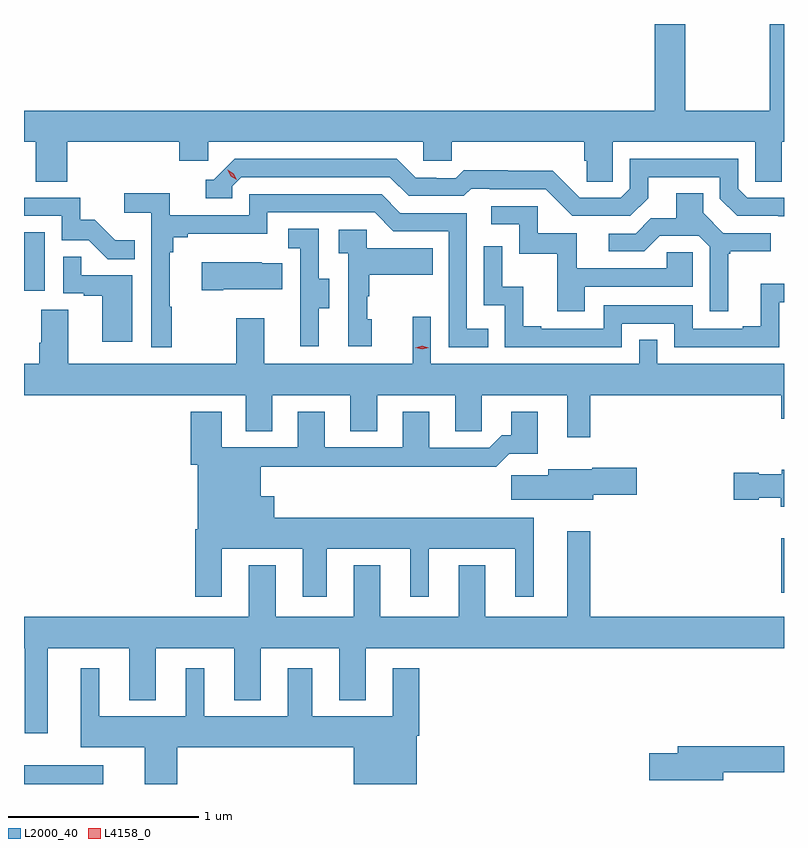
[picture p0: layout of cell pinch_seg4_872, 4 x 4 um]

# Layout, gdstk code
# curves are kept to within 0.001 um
import gdstk
lib = gdstk.Library(unit=1e-6, precision=1e-09)
def R(c, l, rs):  # rectangles x0, y0, x1, y1
    for r in rs: c.add(gdstk.rectangle(r[:2], r[2:], *l))
def P(c, l, *ps):  # polygons
    for p in ps: c.add(gdstk.Polygon(p, *l))
L2000_40 = (2000, 40)
L4158_0 = (4158, 0)

pinch_seg4_872 = lib.new_cell('pinch_seg4_872')
R(pinch_seg4_872, L2000_40, [(840.699,798.769,841.117,798.868), (844.685,799.776,844.699,800.062), (840.699,801.366,840.808,801.673)])
P(pinch_seg4_872, L2000_40, [(840.926,802.148),(841.517,802.148),(841.517,802.05),(841.668,802.05),(841.668,802.148),(842.799,802.148),(842.799,802.05),(842.949,802.05),(842.949,802.148),(843.647,802.148),(843.647,802.05),(843.661,802.05),(843.661,801.94),(843.798,801.94),(843.798,802.148),(844.548,802.148),(844.548,801.94),(844.687,801.94),(844.687,802.148),(844.699,802.148),(844.699,802.769),(844.624,802.769),(844.624,802.312),(844.179,802.312),(844.179,802.769),(844.019,802.769),(844.019,802.312),(840.699,802.312),(840.699,802.148),(840.761,802.148),(840.761,801.94),(840.926,801.94)],
  [(844.699,801.855),(844.506,801.855),(844.458,801.903),(844.458,802.059),(843.888,802.059),(843.888,801.903),(843.84,801.855),(843.624,801.855),(843.482,801.997),(843.246,801.997),(843.246,802),(843.013,802),(842.971,801.957),(842.868,801.957),(842.868,801.96),(842.761,801.96),(842.662,802.059),(841.809,802.059),(841.698,801.948),(841.655,801.948),(841.655,801.852),(841.794,801.852),(841.794,801.915),(841.842,801.963),(842.625,801.963),(842.724,801.864),(843.013,801.864),(843.052,801.903),(843.151,801.903),(843.151,801.9),(843.444,801.9),(843.585,801.759),(843.891,801.759),(843.985,801.853),(843.985,801.963),(844.362,801.963),(844.362,801.849),(844.452,801.759),(844.699,801.758)],
  [(844.405,801.561),(844.417,801.561),(844.417,801.572),(844.63,801.572),(844.63,801.669),(844.38,801.669),(844.273,801.776),(844.273,801.878),(844.133,801.878),(844.133,801.746),(843.998,801.746),(843.918,801.666),(843.777,801.666),(843.777,801.573),(843.964,801.573),(844.045,801.654),(844.251,801.654),(844.308,801.597),(844.308,801.258),(844.405,801.258)],
  [(841.477,801.281),(841.465,801.281),(841.465,801.569),(841.484,801.569),(841.484,801.646),(841.561,801.646),(841.561,801.665),(841.98,801.665),(841.98,801.777),(842.544,801.777),(842.643,801.678),(842.934,801.678),(842.934,801.069),(843.143,801.069),(843.143,801.165),(843.03,801.165),(843.03,801.774),(842.68,801.774),(842.581,801.873),(841.884,801.873),(841.884,801.762),(841.466,801.762),(841.466,801.878),(841.227,801.878),(841.227,801.776),(841.368,801.776),(841.368,801.069),(841.477,801.069)],
  [(841.283,801.631),(841.179,801.631),(841.072,801.738),(840.996,801.738),(840.996,801.855),(840.699,801.855),(840.699,801.759),(840.897,801.759),(840.897,801.63),(841.041,801.63),(841.139,801.532),(841.283,801.532)],
  [(843.649,801.387),(844.218,801.387),(844.218,801.567),(844.081,801.567),(844.081,801.483),(843.607,801.483),(843.607,801.669),(843.402,801.669),(843.402,801.81),(843.159,801.81),(843.159,801.714),(843.306,801.714),(843.306,801.561),(843.505,801.561),(843.505,801.258),(843.649,801.258)],
  [(842.251,801.274),(842.305,801.274),(842.305,801.429),(842.25,801.429),(842.25,801.692),(842.091,801.692),(842.091,801.589),(842.154,801.589),(842.154,801.285),(842.153,801.285),(842.153,801.072),(842.251,801.072)],
  [(842.53,801.216),(842.505,801.216),(842.505,801.335),(842.515,801.335),(842.515,801.449),(842.849,801.449),(842.849,801.589),(842.502,801.589),(842.502,801.687),(842.355,801.687),(842.355,801.563),(842.406,801.563),(842.406,801.072),(842.53,801.072)],
  [(843.846,801.192),(844.122,801.192),(844.122,801.069),(844.674,801.069),(844.674,801.305),(844.699,801.305),(844.699,801.403),(844.577,801.403),(844.577,801.178),(844.481,801.178),(844.481,801.165),(844.218,801.165),(844.218,801.288),(843.75,801.288),(843.75,801.165),(843.421,801.165),(843.421,801.178),(843.326,801.178),(843.326,801.386),(843.216,801.386),(843.216,801.598),(843.12,801.598),(843.12,801.288),(843.228,801.288),(843.228,801.069),(843.846,801.069)],
  [(841.27,801.447),(841.001,801.447),(841.001,801.545),(840.906,801.545),(840.906,801.351),(841.013,801.351),(841.013,801.339),(841.112,801.339),(841.112,801.096),(841.27,801.096)],
  [(841.747,801.374),(842.057,801.374),(842.057,801.511),(841.949,801.511),(841.949,801.514),(841.635,801.514),(841.635,801.367),(841.747,801.367)],
  [(843.679,800.816),(844.685,800.816),(844.685,800.692),(844.699,800.692),(844.699,800.98),(844.032,800.98),(844.032,801.107),(843.936,801.107),(843.936,800.98),(842.841,800.98),(842.841,801.229),(842.744,801.229),(842.744,800.98),(841.963,800.98),(841.963,801.22),(841.816,801.22),(841.816,800.98),(840.931,800.98),(840.931,801.266),(840.791,801.266),(840.791,801.092),(840.779,801.092),(840.779,800.98),(840.699,800.98),(840.699,800.816),(841.865,800.816),(841.865,800.626),(842.005,800.626),(842.005,800.816),(842.417,800.816),(842.417,800.626),(842.557,800.626),(842.557,800.816),(842.969,800.816),(842.969,800.626),(843.108,800.626),(843.108,800.816),(843.557,800.816),(843.557,800.595),(843.679,800.595)],
  [(841.741,800.006),(842.165,800.006),(842.165,799.755),(842.293,799.755),(842.293,800.006),(842.732,800.006),(842.732,799.755),(842.83,799.755),(842.83,800.006),(843.284,800.006),(843.284,799.755),(843.382,799.755),(843.382,800.17),(842.017,800.17),(842.017,800.284),(841.945,800.284),(841.945,800.44),(842.929,800.44),(842.929,800.438),(843.185,800.438),(843.254,800.507),(843.403,800.507),(843.403,800.728),(843.263,800.728),(843.263,800.605),(843.214,800.605),(843.147,800.538),(842.833,800.538),(842.833,800.728),(842.693,800.728),(842.693,800.541),(842.281,800.541),(842.281,800.728),(842.141,800.728),(842.141,800.541),(841.741,800.541),(841.741,800.728),(841.577,800.728),(841.577,800.448),(841.613,800.448),(841.613,800.11),(841.601,800.11),(841.601,799.755),(841.741,799.755)],
  [(843.694,800.291),(843.925,800.291),(843.925,800.433),(843.69,800.433),(843.69,800.425),(843.458,800.425),(843.458,800.393),(843.264,800.393),(843.264,800.264),(843.694,800.264)],
  [(844.699,800.422),(844.686,800.422),(844.686,800.398),(844.566,800.398),(844.566,800.406),(844.434,800.406),(844.434,800.264),(844.566,800.264),(844.566,800.276),(844.682,800.276),(844.682,800.228),(844.699,800.228)],
  [(840.823,799.484),(841.253,799.484),(841.253,799.211),(841.393,799.211),(841.393,799.484),(841.805,799.484),(841.805,799.211),(841.945,799.211),(841.945,799.484),(842.357,799.484),(842.357,799.211),(842.497,799.211),(842.497,799.484),(844.699,799.484),(844.699,799.648),(843.679,799.648),(843.679,800.098),(843.557,800.098),(843.557,799.648),(843.127,799.648),(843.127,799.921),(842.987,799.921),(842.987,799.648),(842.575,799.648),(842.575,799.921),(842.435,799.921),(842.435,799.648),(842.023,799.648),(842.023,799.921),(841.883,799.921),(841.883,799.648),(840.699,799.648),(840.699,799.484),(840.702,799.484),(840.702,799.035),(840.823,799.035)],
  [(841.505,798.962),(842.435,798.962),(842.435,798.769),(842.767,798.769),(842.767,799.022),(842.78,799.022),(842.78,799.378),(842.639,799.378),(842.639,799.126),(842.215,799.126),(842.215,799.378),(842.087,799.378),(842.087,799.126),(841.648,799.126),(841.648,799.378),(841.55,799.378),(841.55,799.126),(841.096,799.126),(841.096,799.378),(840.998,799.378),(840.998,798.962),(841.334,798.962),(841.334,798.769),(841.505,798.769)],
  [(844.378,798.832),(844.699,798.832),(844.699,798.968),(844.139,798.968),(844.139,798.932),(843.99,798.932),(843.99,798.79),(844.378,798.79)])
P(pinch_seg4_872, L4158_0, [(841.818,801.949),(841.787,801.968),(841.771,802.001),(841.771,802.001),(841.771,802.001),(841.802,801.982),(841.818,801.95),(841.818,801.949)],
  [(842.794,801.056),(842.758,801.066),(842.758,801.066),(842.758,801.066),(842.794,801.076),(842.83,801.066),(842.83,801.066),(842.83,801.066)])

lib.write_gds('pinch_seg4_872.gds')
